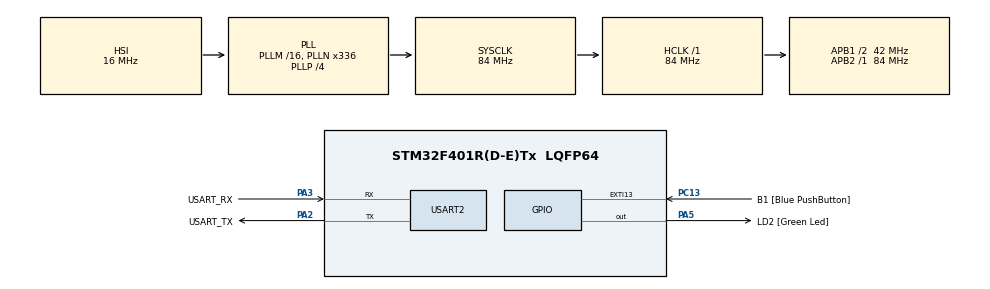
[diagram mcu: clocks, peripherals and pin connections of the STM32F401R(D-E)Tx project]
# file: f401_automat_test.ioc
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Mcu.Family=STM32F4
Mcu.Name=STM32F401R(D-E)Tx
Mcu.Package=LQFP64
NVIC.PriorityGroup=NVIC_PRIORITYGROUP_0
PA13.GPIO_Label=TMS
PA13.Mode=Serial_Wire
PA13.Signal=SYS_JTMS-SWDIO
PA14.GPIO_Label=TCK
PA14.Mode=Serial_Wire
PA14.Signal=SYS_JTCK-SWCLK
PA2.GPIO_Label=USART_TX
PA2.GPIO_Mode=GPIO_MODE_AF_PP
PA2.GPIO_PuPd=GPIO_NOPULL
PA2.GPIO_Speed=GPIO_SPEED_FREQ_LOW
PA2.Mode=Asynchronous
PA2.Signal=USART2_TX
PA3.GPIO_Label=USART_RX
PA3.GPIO_Mode=GPIO_MODE_AF_PP
PA3.GPIO_PuPd=GPIO_NOPULL
PA3.GPIO_Speed=GPIO_SPEED_FREQ_LOW
PA3.Mode=Asynchronous
PA3.Signal=USART2_RX
PA5.GPIO_Label=LD2 [Green Led]
PA5.GPIO_Mode=GPIO_MODE_OUTPUT_PP
PA5.GPIO_PuPd=GPIO_NOPULL
PA5.GPIO_Speed=GPIO_SPEED_FREQ_LOW
PA5.Signal=GPIO_Output
PB3.GPIO_Label=SWO
PB3.Signal=SYS_JTDO-SWO
PC13-ANTI_TAMP.GPIO_Label=B1 [Blue PushButton]
PC13-ANTI_TAMP.GPIO_ModeDefaultEXTI=GPIO_MODE_IT_FALLING
PC13-ANTI_TAMP.GPIO_PuPd=GPIO_NOPULL
PC13-ANTI_TAMP.Signal=GPXTI13
PC14-OSC32_IN.Mode=LSE-External-Oscillator
PC14-OSC32_IN.Signal=RCC_OSC32_IN
PC15-OSC32_OUT.Mode=LSE-External-Oscillator
PC15-OSC32_OUT.Signal=RCC_OSC32_OUT
PH0\ -\ OSC_IN.Mode=HSE-External-Clock-Source
PH0\ -\ OSC_IN.Signal=RCC_OSC_IN
PH1\ -\ OSC_OUT.Mode=HSE-External-Clock-Source
PH1\ -\ OSC_OUT.Signal=RCC_OSC_OUT
ProjectManager.HeapSize=0x200
ProjectManager.StackSize=0x400
ProjectManager.TargetToolchain=STM32CubeIDE
RCC.48MHZClocksFreq_Value=48000000
RCC.AHBFreq_Value=84000000
RCC.APB1CLKDivider=RCC_HCLK_DIV2
RCC.APB1Freq_Value=42000000
RCC.APB1TimFreq_Value=84000000
RCC.APB2Freq_Value=84000000
RCC.APB2TimFreq_Value=84000000
RCC.CortexFreq_Value=84000000
RCC.HCLKFreq_Value=84000000
RCC.HSE_VALUE=8000000
RCC.HSI_VALUE=16000000
RCC.PLLN=336
RCC.PLLP=RCC_PLLP_DIV4
RCC.PLLQ=7
RCC.SYSCLKFreq_VALUE=84000000
RCC.SYSCLKSource=RCC_SYSCLKSOURCE_PLLCLK
RCC.VCOOutputFreq_Value=336000000
USART2.VirtualMode=VM_ASYNC
board=NUCLEO-F401RE

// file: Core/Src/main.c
/* USER CODE BEGIN Header */
/**
  ******************************************************************************
  * @file           : main.c
  * @brief          : Main program body
  ******************************************************************************
  * @attention
  *
  * Copyright (c) 2024 STMicroelectronics.
  * All rights reserved.
  *
  * This software is licensed under terms that can be found in the LICENSE file
  * in the root directory of this software component.
  * If no LICENSE file comes with this software, it is provided AS-IS.
  *
  ******************************************************************************
  */
/* USER CODE END Header */
#include "main.h"

/* USER CODE BEGIN Includes */
#include <math.h> // Für die Sinusfunktion (blinkende LED)
#include <stdbool.h>
#include <stdint.h>
#include <stdio.h>
#include <stdlib.h>
#include <string.h>
/* USER CODE END Includes */

UART_HandleTypeDef huart2;

/* USER CODE BEGIN PV */
typedef enum {
    Z_init,
    Z_classification,
    Z_indexing,
    Z_apply_searching_filter,
    Z_recording,
    Z_idle,
    Z_navigating_menu,
	Z_playbacking
} zustand_t;
zustand_t zustand_std;

typedef enum {
    A_init,
    A_index_new_samples,
    A_classify_sample,
    A_label_sample,
    A_get_fader_pos,
    A_index_new_samples,
    A_display_results,
    A_get_fader_pos,
    A_record_to_file,
    A_select_samp,
    A_read_enc,
    A_menu_up,
    A_menu_down,
    A_play_samp,
    A_stop_samp
} aktion_t;
aktion_t aktion;

// Kontrollsignale

bool new_samples = false;
bool classification_cplt = false;
bool rec_btn_interrupt = false;
bool trig_play_button = false;
bool samp_end = false;
bool retrieved_results = false;
bool fader_interrupt = false;
bool enc_push_interrupt = false;
bool enc_up = false;
bool enc_down = false;
bool enc_interrupt = false;
/* USER CODE END PV */

void SystemClock_Config(void);
static void MX_GPIO_Init(void);
static void MX_USART2_UART_Init(void);
/* USER CODE BEGIN PFP */
void std(void);
void pat(void);

/* USER CODE END PFP */

int main(void)
{

  /* MCU Configuration--------------------------------------------------------*/

  /* Reset of all peripherals, Initializes the Flash interface and the Systick. */
  HAL_Init();

  /* Configure the system clock */
  SystemClock_Config();

  /* Initialize all configured peripherals */
  MX_GPIO_Init();
  MX_USART2_UART_Init();
  /* USER CODE BEGIN 2 */
  pat();
  /* USER CODE END 2 */

  /* Infinite loop */
  while (1)
  {
	  std();
	  pat();
  }
}

void SystemClock_Config(void)
{
  RCC_OscInitTypeDef RCC_OscInitStruct = {0};
  RCC_ClkInitTypeDef RCC_ClkInitStruct = {0};

  /** Configure the main internal regulator output voltage
  */
  __HAL_RCC_PWR_CLK_ENABLE();
  __HAL_PWR_VOLTAGESCALING_CONFIG(PWR_REGULATOR_VOLTAGE_SCALE2);

  /** Initializes the RCC Oscillators according to the specified parameters
  * in the RCC_OscInitTypeDef structure.
  */
  RCC_OscInitStruct.OscillatorType = RCC_OSCILLATORTYPE_HSI;
  RCC_OscInitStruct.HSIState = RCC_HSI_ON;
  RCC_OscInitStruct.HSICalibrationValue = RCC_HSICALIBRATION_DEFAULT;
  RCC_OscInitStruct.PLL.PLLState = RCC_PLL_ON;
  RCC_OscInitStruct.PLL.PLLSource = RCC_PLLSOURCE_HSI;
  RCC_OscInitStruct.PLL.PLLM = 16;
  RCC_OscInitStruct.PLL.PLLN = 336;
  RCC_OscInitStruct.PLL.PLLP = RCC_PLLP_DIV4;
  RCC_OscInitStruct.PLL.PLLQ = 7;
  if (HAL_RCC_OscConfig(&RCC_OscInitStruct) != HAL_OK)
  {
    Error_Handler();
  }

  /** Initializes the CPU, AHB and APB buses clocks
  */
  RCC_ClkInitStruct.ClockType = RCC_CLOCKTYPE_HCLK|RCC_CLOCKTYPE_SYSCLK
                              |RCC_CLOCKTYPE_PCLK1|RCC_CLOCKTYPE_PCLK2;
  RCC_ClkInitStruct.SYSCLKSource = RCC_SYSCLKSOURCE_PLLCLK;
  RCC_ClkInitStruct.AHBCLKDivider = RCC_SYSCLK_DIV1;
  RCC_ClkInitStruct.APB1CLKDivider = RCC_HCLK_DIV2;
  RCC_ClkInitStruct.APB2CLKDivider = RCC_HCLK_DIV1;

  if (HAL_RCC_ClockConfig(&RCC_ClkInitStruct, FLASH_LATENCY_2) != HAL_OK)
  {
    Error_Handler();
  }
}

static void MX_USART2_UART_Init(void)
{

  huart2.Instance = USART2;
  huart2.Init.BaudRate = 115200;
  huart2.Init.WordLength = UART_WORDLENGTH_8B;
  huart2.Init.StopBits = UART_STOPBITS_1;
  huart2.Init.Parity = UART_PARITY_NONE;
  huart2.Init.Mode = UART_MODE_TX_RX;
  huart2.Init.HwFlowCtl = UART_HWCONTROL_NONE;
  huart2.Init.OverSampling = UART_OVERSAMPLING_16;
  if (HAL_UART_Init(&huart2) != HAL_OK)
  {
    Error_Handler();
  }

}

static void MX_GPIO_Init(void)
{
  GPIO_InitTypeDef GPIO_InitStruct = {0};

  /* GPIO Ports Clock Enable */
  __HAL_RCC_GPIOC_CLK_ENABLE();
  __HAL_RCC_GPIOH_CLK_ENABLE();
  __HAL_RCC_GPIOA_CLK_ENABLE();
  __HAL_RCC_GPIOB_CLK_ENABLE();

  /*Configure GPIO pin Output Level */
  HAL_GPIO_WritePin(LD2_GPIO_Port, LD2_Pin, GPIO_PIN_RESET);

  /*Configure GPIO pin : B1_Pin */
  GPIO_InitStruct.Pin = B1_Pin;
  GPIO_InitStruct.Mode = GPIO_MODE_IT_FALLING;
  GPIO_InitStruct.Pull = GPIO_NOPULL;
  HAL_GPIO_Init(B1_GPIO_Port, &GPIO_InitStruct);

  /*Configure GPIO pin : LD2_Pin */
  GPIO_InitStruct.Pin = LD2_Pin;
  GPIO_InitStruct.Mode = GPIO_MODE_OUTPUT_PP;
  GPIO_InitStruct.Pull = GPIO_NOPULL;
  GPIO_InitStruct.Speed = GPIO_SPEED_FREQ_LOW;
  HAL_GPIO_Init(LD2_GPIO_Port, &GPIO_InitStruct);

}

/* USER CODE BEGIN 4 */

void std(void){
	switch(zustand_std){
	case Z_init:
		aktion = A_index_new_samples;
		zustand_std = Z_indexing;
		break;
	case Z_indexing:
		if(new_samples && !classification_cplt){
			aktion = A_classify_sample;
			zustand_std = Z_classification;
		}
		if(!new_samples && classification_cplt){
			aktion = A_get_fader_pos;
			zustand_std = Z_apply_searching_filter;
		}
	case Z_classification:
		if(classification_cplt){
			aktion = A_label_sample;
			zustand_std = Z_indexing;
		}
	case Z_apply_searching_filter:
		if(retrived_results){
			aktion = A_display_results;
			zustand_std  = Z_idle;
		}
	case Z_recording:
		if(!rec_btn_interrupt){
			aktion = A_index_new_samples;
			zustand_std = Z_indexing;
		}
	case Z_idle:
		if(enc_push_interrupt){
			aktion = A_select_samp;
		}
		if(enc_interrupt){
			aktion = A_read_enc;
			zustand_std = Z_navigating_menu;
		}
		if(trig_play_button){
			aktion = A_play_samp;
			zustand_std = Z_playbacking;
		}
		if(rec_btn_interrupt){
			aktion = A_record_to_file;
			zustand_std = Z_recording;
		}
	case Z_playbacking:
		if(trig_play_button){
			aktion = A_play_samp;
		}
		if(enc_push_interrupt){
			aktion = A_select_samp;
		}
		if(enc_interrupt){
			aktion = A_read_enc;
			zustand_std = Z_navigating_menu;
		}
		if(samp_end){
			aktion = A_stop_samp;
			zustand_std = Z_idle;
		}
	case Z_navigating_menu:
		if(enc_up & trig_play_button){
			aktion = A_menu_up;
			zustand_std = Z_playbacking;
		}
		if(enc_down & tri_play_button){
			aktion = A_menu_down;
			zustand_std = Z_playbacking;
		}
		if(enc_up & !trig_play_button){
			aktion = A_menu_up;
			zustand_std = Z_idle;
		}
		if(enc_down & !tri_play_button){
			aktion = A_menu_down;
			zustand_std = Z_idle;
	}
}

/* USER CODE END 4 */

void Error_Handler(void)
{
  __disable_irq();
  while (1)
  {
  }
}
